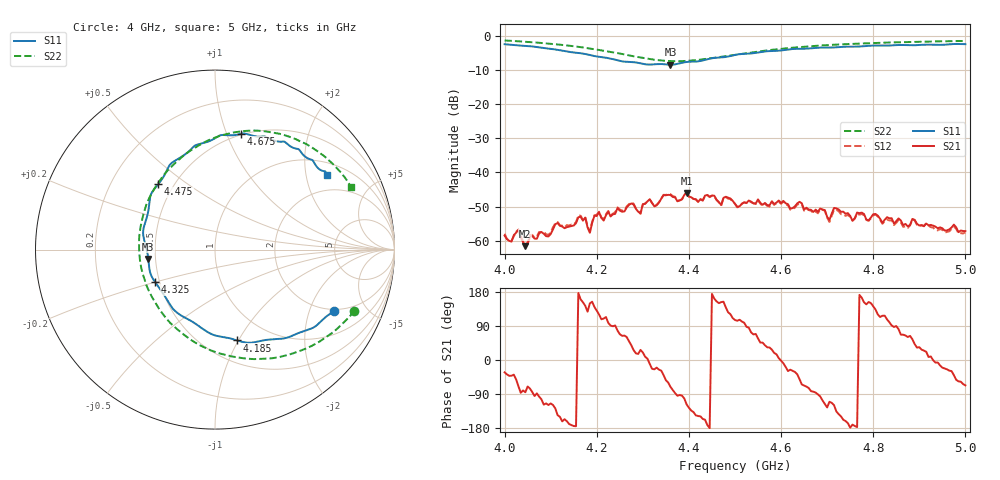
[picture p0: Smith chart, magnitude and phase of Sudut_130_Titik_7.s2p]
# Hz S RI R 50
! CMT, C1220, 16058040, 17.2.0/1
! Date: 15/08/2018 12:02:20
! Data: Format (Calibration Info)
! Freq  S11: Re/Im (F2)  S21: Re/Im (F2)  S12: Re/Im (F2)  S22: Re/Im (F2)
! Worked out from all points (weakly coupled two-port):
!   201 points, 4 GHz to 5 GHz, reference 50 ohm
!   highest |S21| = -46.01 dB at 4.395 GHz (marker M1); lowest = -61.6 dB at 4.045 GHz (marker M2)
!   lowest |S11| = -8.5 dB at 4.36 GHz (marker M3), VSWR 2.20, Z = 22.8 - j2.78 ohm
!   |S11| at or under -10 dB: nowhere
!   |S22| runs from -7.5 to -1.4 dB; largest |S21 - S12| = 0.00022
!   S11 on the Smith chart (normalised r, x): 4 GHz: 1.93, -2.98; 4.185 GHz: 0.71, -0.98; 4.325 GHz: 0.47, -0.20; 4.475 GHz: 0.41, +0.39; 4.675 GHz: 0.49, +1.12; 5 GHz: 1.41, +2.65
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4e9  0.6646 -0.3414  0.001 -0.000643  0.00109 -0.000653  0.7767 -0.3406
4.03e9  0.6043 -0.3868  0.000508 -0.00135  0.000586 -0.00134  0.7186 -0.4047
4.045e9  0.5704 -0.4187  7.21e-05 -0.000833  0.000115 -0.000847  0.6856 -0.4364
4.115e9  0.3687 -0.4967  -0.0015 -0.00103  -0.00151 -0.00113  0.4872 -0.5591
4.17e9  0.171 -0.5179  -0.00175 0.000916  -0.00181 0.000938  0.2818 -0.6076
4.185e9  0.1215 -0.5058  -0.00113 0.000669  -0.0012 0.000647  0.2184 -0.6101
4.205e9  0.0447 -0.4873  -0.00131 0.00228  -0.00137 0.00228  0.1312 -0.6014
4.215e9  0.0058 -0.4797  -0.000653 0.00187  -0.000733 0.00195  0.0864 -0.5935
4.275e9  -0.2082 -0.3539  0.00274 0.00221  0.00292 0.00221  -0.1715 -0.4754
4.325e9  -0.3348 -0.1804  0.0029 -0.00132  0.00292 -0.0013  -0.3378 -0.2869
4.335e9  -0.3539 -0.1473  0.00328 -0.00155  0.00332 -0.00156  -0.3629 -0.2411
4.36e9  -0.3713 -0.0524  0.00151 -0.00442  0.00155 -0.00455  -0.4068 -0.1183
4.395e9  -0.4007 0.0908  -0.00229 -0.00445  -0.00235 -0.00439  -0.423 0.0558
4.475e9  -0.3166 0.3635  -0.00382 0.00187  -0.00376 0.00195  -0.3029 0.3911
4.5e9  -0.2644 0.4487  -0.000933 0.00335  -0.00094 0.00335  -0.2388 0.4663
4.67e9  0.1343 0.6426  0.000296 -0.00263  0.000256 -0.00254  0.2372 0.6626
4.675e9  0.1444 0.6454  0.0002 -0.00285  0.00019 -0.0027  0.2502 0.6618
4.705e9  0.1996 0.6373  -0.000699 -0.0019  -0.000757 -0.00173  0.3245 0.6514
4.715e9  0.2264 0.6308  -0.00148 -0.00264  -0.00147 -0.00246  0.3485 0.6476
4.755e9  0.2983 0.6202  -0.00195 -0.000321  -0.00194 -0.000377  0.4323 0.6223
4.835e9  0.4361 0.567  -0.000359 0.0021  -0.000358 0.00196  0.5728 0.5468
5e9  0.6245 0.4129  0.000543 -0.00128  0.000579 -0.00119  0.7581 0.351
